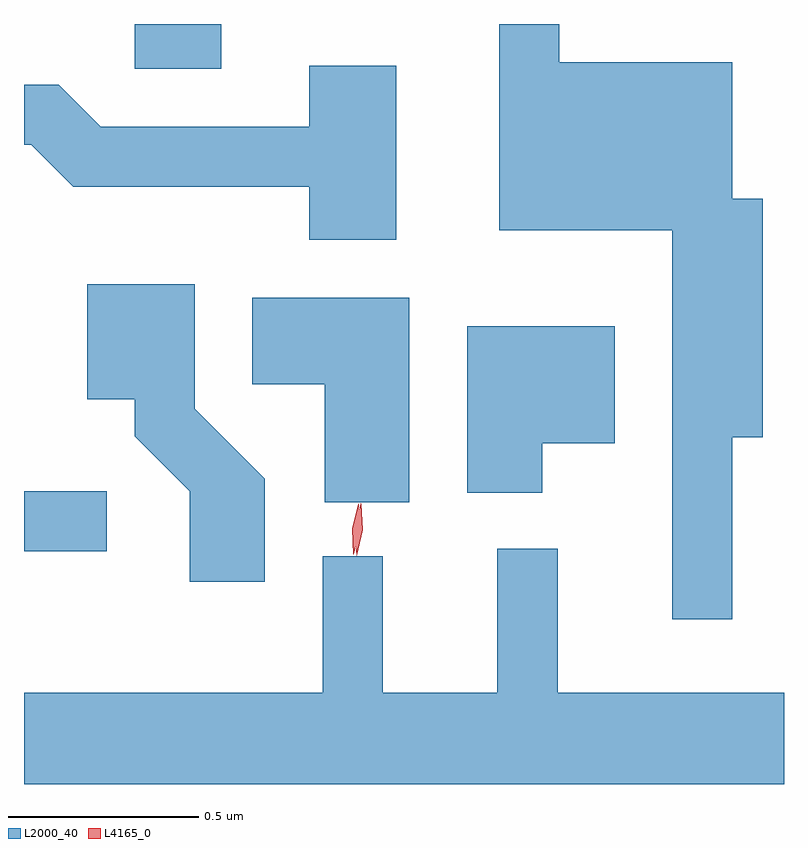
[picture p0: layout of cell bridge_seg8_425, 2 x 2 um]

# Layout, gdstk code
import gdstk
lib = gdstk.Library(unit=1e-6, precision=1e-09)
def R(c, l, rs):  # rectangles x0, y0, x1, y1
    for r in rs: c.add(gdstk.rectangle(r[:2], r[2:], *l))
def P(c, l, *ps):  # polygons
    for p in ps: c.add(gdstk.Polygon(p, *l))
L2000_40 = (2000, 40)
L4165_0 = (4165, 0)

bridge_seg8_425 = lib.new_cell('bridge_seg8_425')
R(bridge_seg8_425, L2000_40, [(825.73,1837.056,825.948,1837.214), (826.021,1838.326,826.249,1838.444)])
P(bridge_seg8_425, L2000_40, [(827.594,1837.356),(827.674,1837.356),(827.674,1837.984),(827.594,1837.984),(827.594,1838.344),(827.139,1838.344),(827.139,1838.444),(826.981,1838.444),(826.981,1837.901),(827.436,1837.901),(827.436,1836.878),(827.594,1836.878)],
  [(826.709,1838.334),(826.481,1838.334),(826.481,1838.174),(825.932,1838.174),(825.822,1838.284),(825.73,1838.284),(825.73,1838.126),(825.749,1838.126),(825.859,1838.016),(826.481,1838.016),(826.481,1837.876),(826.709,1837.876)],
  [(826.364,1837.247),(826.179,1837.432),(826.179,1837.759),(825.896,1837.759),(825.896,1837.456),(826.021,1837.456),(826.021,1837.359),(826.166,1837.214),(826.166,1836.976),(826.364,1836.976)],
  [(826.744,1837.724),(826.331,1837.724),(826.331,1837.496),(826.521,1837.496),(826.521,1837.186),(826.744,1837.186)],
  [(827.094,1837.341),(827.284,1837.341),(827.284,1837.649),(826.896,1837.649),(826.896,1837.211),(827.094,1837.211)],
  [(827.73,1836.684),(827.134,1836.684),(827.134,1837.063),(826.976,1837.063),(826.976,1836.684),(826.674,1836.684),(826.674,1837.043),(826.516,1837.043),(826.516,1836.684),(825.73,1836.684),(825.73,1836.444),(827.73,1836.444)])
P(bridge_seg8_425, L4165_0, [(826.597,1837.049),(826.597,1837.049),(826.594,1837.116),(826.61,1837.18),(826.61,1837.181),(826.611,1837.18),(826.614,1837.114),(826.598,1837.049)],
  [(826.605,1837.045),(826.605,1837.045),(826.601,1837.115),(826.616,1837.182),(826.616,1837.183),(826.617,1837.182),(826.621,1837.113),(826.606,1837.045)])

lib.write_gds('bridge_seg8_425.gds')
